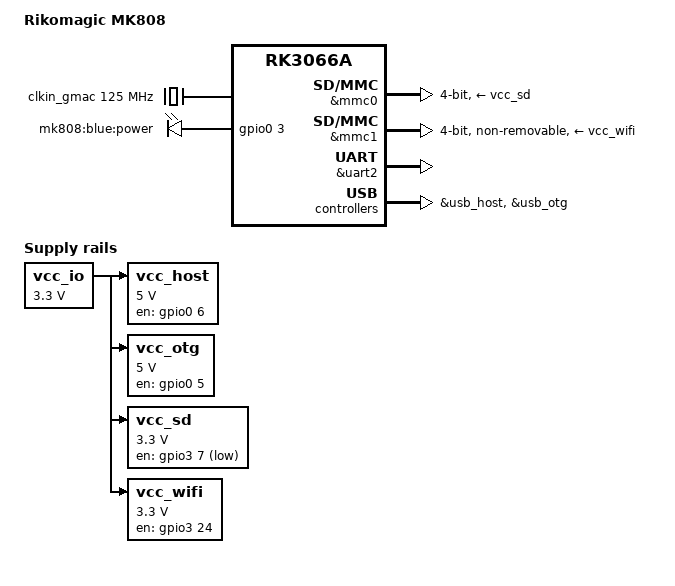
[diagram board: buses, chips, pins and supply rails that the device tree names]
/*
 * Copyright (c) 2016 Paweł Jarosz <paweljarosz3691@gmail.com>
 *
 * This file is dual-licensed: you can use it either under the terms
 * of the GPL or the X11 license, at your option. Note that this dual
 * licensing only applies to this file, and not this project as a
 * whole.
 *
 *  a) This file is free software; you can redistribute it and/or
 *     modify it under the terms of the GNU General Public License as
 *     published by the Free Software Foundation; either version 2 of the
 *     License, or (at your option) any later version.
 *
 *     This file is distributed in the hope that it will be useful,
 *     but WITHOUT ANY WARRANTY; without even the implied warranty of
 *     MERCHANTABILITY or FITNESS FOR A PARTICULAR PURPOSE.  See the
 *     GNU General Public License for more details.
 *
 * Or, alternatively,
 *
 *  b) Permission is hereby granted, free of charge, to any person
 *     obtaining a copy of this software and associated documentation
 *     files (the "Software"), to deal in the Software without
 *     restriction, including without limitation the rights to use,
 *     copy, modify, merge, publish, distribute, sublicense, and/or
 *     sell copies of the Software, and to permit persons to whom the
 *     Software is furnished to do so, subject to the following
 *     conditions:
 *
 *     The above copyright notice and this permission notice shall be
 *     included in all copies or substantial portions of the Software.
 *
 *     THE SOFTWARE IS PROVIDED "AS IS", WITHOUT WARRANTY OF ANY KIND,
 *     EXPRESS OR IMPLIED, INCLUDING BUT NOT LIMITED TO THE WARRANTIES
 *     OF MERCHANTABILITY, FITNESS FOR A PARTICULAR PURPOSE AND
 *     NONINFRINGEMENT. IN NO EVENT SHALL THE AUTHORS OR COPYRIGHT
 *     HOLDERS BE LIABLE FOR ANY CLAIM, DAMAGES OR OTHER LIABILITY,
 *     WHETHER IN AN ACTION OF CONTRACT, TORT OR OTHERWISE, ARISING
 *     FROM, OUT OF OR IN CONNECTION WITH THE SOFTWARE OR THE USE OR
 *     OTHER DEALINGS IN THE SOFTWARE.
 */

/dts-v1/;
#include "rk3066a.dtsi"

/ {
	model = "Rikomagic MK808";
	compatible = "rikomagic,mk808", "rockchip,rk3066a";

	chosen {
		stdout-path = "serial2:115200n8";
	model = "Rockchip RK3399 Evaluation Board";
	compatible = "rockchip,rk3399-evb", "rockchip,rk3399",
		     "google,rk3399evb-rev2";

	backlight: backlight {
		compatible = "pwm-backlight";
		brightness-levels = <
			  0   1   2   3   4   5   6   7
			  8   9  10  11  12  13  14  15
			 16  17  18  19  20  21  22  23
			 24  25  26  27  28  29  30  31
			 32  33  34  35  36  37  38  39
			 40  41  42  43  44  45  46  47
			 48  49  50  51  52  53  54  55
			 56  57  58  59  60  61  62  63
			 64  65  66  67  68  69  70  71
			 72  73  74  75  76  77  78  79
			 80  81  82  83  84  85  86  87
			 88  89  90  91  92  93  94  95
			 96  97  98  99 100 101 102 103
			104 105 106 107 108 109 110 111
			112 113 114 115 116 117 118 119
			120 121 122 123 124 125 126 127
			128 129 130 131 132 133 134 135
			136 137 138 139 140 141 142 143
			144 145 146 147 148 149 150 151
			152 153 154 155 156 157 158 159
			160 161 162 163 164 165 166 167
			168 169 170 171 172 173 174 175
			176 177 178 179 180 181 182 183
			184 185 186 187 188 189 190 191
			192 193 194 195 196 197 198 199
			200 201 202 203 204 205 206 207
			208 209 210 211 212 213 214 215
			216 217 218 219 220 221 222 223
			224 225 226 227 228 229 230 231
			232 233 234 235 236 237 238 239
			240 241 242 243 244 245 246 247
			248 249 250 251 252 253 254 255>;
		default-brightness-level = <200>;
		enable-gpios = <&gpio1 13 GPIO_ACTIVE_HIGH>;
		pwms = <&pwm0 0 25000 0>;
	};

	clkin_gmac: external-gmac-clock {
		compatible = "fixed-clock";
		clock-frequency = <125000000>;
		clock-output-names = "clkin_gmac";
		#clock-cells = <0>;
	};

	memory@60000000 {
		reg = <0x60000000 0x40000000>;
		device_type = "memory";
	};

	gpio-leds {
		compatible = "gpio-leds";

		blue {
			label = "mk808:blue:power";
			gpios = <&gpio0 3 GPIO_ACTIVE_HIGH>;
			default-state = "off";
			linux,default-trigger = "default-on";
		};
	};

	vcc_io: vcc-io {
		compatible = "regulator-fixed";
		regulator-name = "vcc_io";
		regulator-min-microvolt = <3300000>;
		regulator-max-microvolt = <3300000>;
	};

	vcc_host: usb-host-regulator {
		compatible = "regulator-fixed";
		enable-active-high;
		gpio = <&gpio0 6 GPIO_ACTIVE_HIGH>;
		pinctrl-0 = <&host_drv>;
		pinctrl-names = "default";
		regulator-always-on;
		regulator-name = "host-pwr";
		regulator-min-microvolt = <5000000>;
		regulator-max-microvolt = <5000000>;
		startup-delay-us = <100000>;
		vin-supply = <&vcc_io>;
	};

	vcc_otg: usb-otg-regulator {
		compatible = "regulator-fixed";
		enable-active-high;
		gpio = <&gpio0 5 GPIO_ACTIVE_HIGH>;
		pinctrl-0 = <&otg_drv>;
		pinctrl-names = "default";
		regulator-always-on;
		regulator-name = "vcc_otg";
		regulator-min-microvolt = <5000000>;
		regulator-max-microvolt = <5000000>;
		startup-delay-us = <100000>;
		vin-supply = <&vcc_io>;
	};

	vcc_sd: sdmmc-regulator {
		compatible = "regulator-fixed";
		gpio = <&gpio3 7 GPIO_ACTIVE_LOW>;
		pinctrl-0 = <&sdmmc_pwr>;
		pinctrl-names = "default";
		regulator-name = "vcc_sd";
		regulator-min-microvolt = <3300000>;
		regulator-max-microvolt = <3300000>;
		startup-delay-us = <100000>;
		vin-supply = <&vcc_io>;
	};

	vcc_wifi: sdio-regulator {
		compatible = "regulator-fixed";
		enable-active-high;
		gpio = <&gpio3 24 GPIO_ACTIVE_HIGH>;
		pinctrl-0 = <&wifi_pwr>;
		pinctrl-names = "default";
		regulator-name = "vcc_wifi";
		regulator-min-microvolt = <3300000>;
		regulator-max-microvolt = <3300000>;
		startup-delay-us = <100000>;
		vin-supply = <&vcc_io>;
	};
};

&mmc0 {
	bus-width = <4>;
	cap-mmc-highspeed;
	cap-sd-highspeed;
	num-slots = <1>;
	vmmc-supply = <&vcc_sd>;
	status = "okay";
};

&mmc1 {
	bus-width = <4>;
	disable-wp;
	non-removable;
	num-slots = <1>;
	pinctrl-0 = <&sd1_clk &sd1_cmd &sd1_bus4>;
	pinctrl-names = "default";
	vmmc-supply = <&vcc_wifi>;
	status = "okay";
};

&pinctrl {
	usb-host {
		host_drv: host-drv {
			rockchip,pins = <RK_GPIO0 6 RK_FUNC_GPIO &pcfg_pull_default>;
		};
	};

	usb-otg {
		otg_drv: otg-drv {
			rockchip,pins = <RK_GPIO0 5 RK_FUNC_GPIO &pcfg_pull_default>;
		};
	};

	sdmmc {
		sdmmc_pwr: sdmmc-pwr {
			rockchip,pins = <RK_GPIO3 7 RK_FUNC_GPIO &pcfg_pull_default>;
		};
	};

	sdio {
		wifi_pwr: wifi-pwr {
			rockchip,pins = <RK_GPIO3 24 RK_FUNC_GPIO &pcfg_pull_none>;
		};
	};
};

&uart2 {
	status = "okay";
};

&usb_host {
	status = "okay";
};

&usb_otg {
	status = "okay";
};

&usbphy {
	status = "okay";
};

&wdt {
	status = "okay";
};
